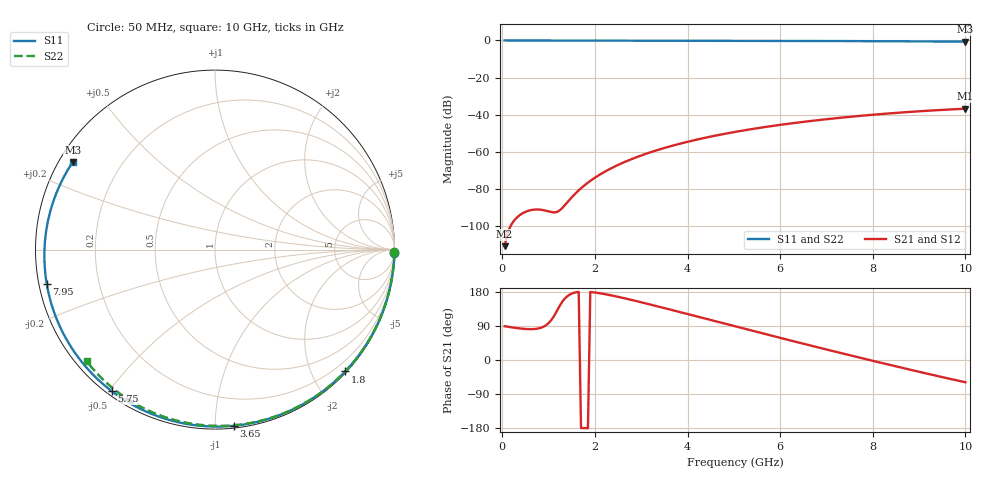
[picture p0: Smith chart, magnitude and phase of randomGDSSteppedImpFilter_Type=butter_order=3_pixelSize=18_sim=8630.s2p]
! freq	dB(S11)	phase(S11)	dB(S12)	phase(S12)
!  dB(S21)	phase(S21)	dB(S22)	phase(S22)
!S-par simulation data
#  GHz  S  DB  R 50
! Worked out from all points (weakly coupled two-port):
!   200 points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, 50 MHz to 10 GHz, reference 50 ohm
!   highest |S21| = -36.75 dB at 10 GHz (marker M1); lowest = -110.8 dB at 50 MHz (marker M2)
!   lowest |S11| = -0.6 dB at 10 GHz (marker M3), VSWR 27.88, Z = 1.94 + j14.1 ohm
!   |S11| at or under -10 dB: nowhere
!   |S22| runs from -0.5 to 0.0 dB; largest |S21 - S12| = 0
!   S11 on the Smith chart (normalised r, x): 50 MHz: 0, -93; 1.8 GHz: 0.02, -2.53; 3.65 GHz: 0.01, -1.11; 5.75 GHz: 0.02, -0.51; 7.95 GHz: 0.02, -0.10; 10 GHz: 0.04, +0.28
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0.05  -0.00 -1.2  -110.81 89.2  -110.81 89.2  -0.00 -0.8
0.4  -0.01 -9.7  -93.68 82.9  -93.68 82.9  -0.01 -6.4
0.8  -0.02 -19.4  -91.08 83.9  -91.08 83.9  -0.02 -12.8
1.2  -0.04 -29.0  -92.15 134.2  -92.15 134.2  -0.02 -19.1
1.65  -0.05 -39.6  -80.73 179.8  -80.73 179.8  -0.03 -26.2
1.7  -0.05 -40.7  -79.60 -179.7  -79.60 -179.7  -0.03 -27.0
1.75  -0.05 -41.9  -78.54 -179.5  -78.54 -179.5  -0.04 -27.7
1.8  -0.05 -43.1  -77.52 -179.6  -77.52 -179.6  -0.04 -28.5
2.1  -0.06 -50.0  -72.34 176.3  -72.34 176.3  -0.04 -33.1
2.45  -0.07 -57.9  -67.63 168.0  -67.63 168.0  -0.05 -38.5
2.9  -0.09 -67.9  -62.86 155.3  -62.86 155.3  -0.06 -45.3
3.4  -0.10 -78.7  -58.65 140.1  -58.65 140.1  -0.07 -52.7
3.65  -0.11 -84.0  -56.85 132.3  -56.85 132.3  -0.08 -56.4
4.35  -0.14 -98.5  -52.58 110.2  -52.58 110.2  -0.09 -66.5
5.05  -0.17 -112.5  -49.16 88.1  -49.16 88.1  -0.12 -76.2
5.75  -0.21 -126.1  -46.35 66.1  -46.35 66.1  -0.14 -85.7
6.7  -0.27 -144.3  -43.26 36.9  -43.26 36.9  -0.19 -98.2
7.35  -0.33 -156.8  -41.51 17.2  -41.51 17.2  -0.23 -106.5
7.95  -0.38 -168.5  -40.12 -0.7  -40.12 -0.7  -0.27 -114.0
8.35  -0.43 -176.5  -39.30 -12.4  -39.30 -12.4  -0.30 -118.9
9.2  -0.52 166.0  -37.83 -36.7  -37.83 -36.7  -0.38 -129.3
10  -0.62 148.4  -36.75 -58.7  -36.75 -58.7  -0.47 -139.0
